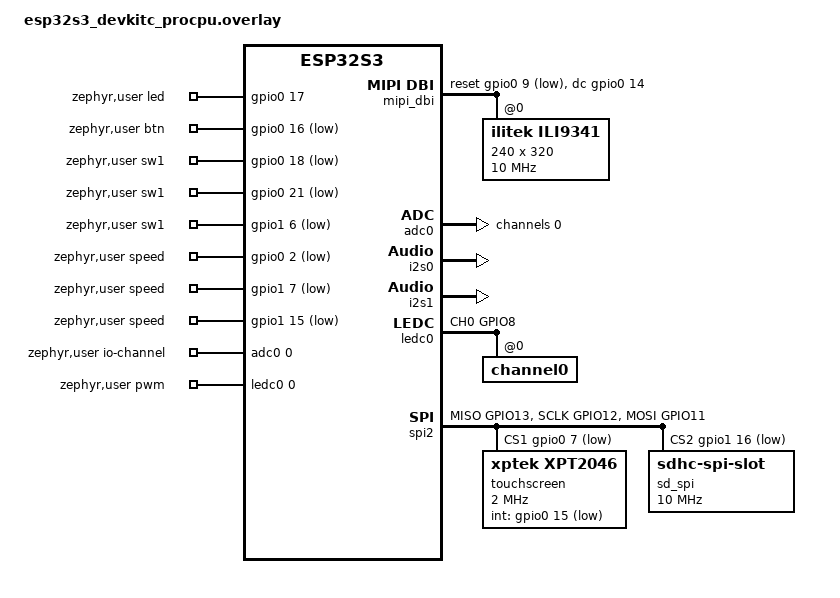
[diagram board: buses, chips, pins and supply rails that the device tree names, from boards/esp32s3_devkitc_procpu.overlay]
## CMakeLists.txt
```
# CMakeLists.txt — Zephyr bring-up test for the digital stethoscope hardware
cmake_minimum_required(VERSION 3.20.0)

find_package(Zephyr REQUIRED HINTS $ENV{ZEPHYR_BASE})
project(stetho_bringup)

target_include_directories(app PRIVATE include)

# Build identity printed at boot. run_ci.py passes -DSTETHO_BUILD_ID; a plain west build
# reports "local". The cache entry is dropped once read, so reconfiguring the directory
# without the option falls back to "local" instead of keeping an earlier CI identity.
set(STETHO_BUILD_ID_VALUE "local")
if(DEFINED STETHO_BUILD_ID)
  set(STETHO_BUILD_ID_VALUE "${STETHO_BUILD_ID}")
  unset(STETHO_BUILD_ID CACHE)
endif()
if(NOT STETHO_BUILD_ID_VALUE MATCHES "^[A-Za-z0-9 ._:+/-]+$")
  message(FATAL_ERROR "STETHO_BUILD_ID allows only letters, digits, spaces and ._:+/-")
endif()
file(CONFIGURE OUTPUT "${CMAKE_CURRENT_BINARY_DIR}/stetho_build_id.h"
     CONTENT "#define STETHO_BUILD_ID \"@STETHO_BUILD_ID_VALUE@\"\n" @ONLY)
target_include_directories(app PRIVATE "${CMAKE_CURRENT_BINARY_DIR}")

target_sources(app PRIVATE
    src/main.c
    src/app_logic.c
    src/peripherals.c
    src/gpio_inputs.c
    src/analog_backlight.c
    src/display_touch.c
    src/audio_loopback.c
    src/status_reporting.c
    src/stetho_dsp.c
    src/stetho_control.c
    src/stetho_shell.c
    src/stetho_fhir.c
    src/stetho_network.c
)

target_link_libraries(app PRIVATE m)
if(CONFIG_STETHO_NETWORK)
  set(STETHO_CA_HEADER "${CMAKE_CURRENT_BINARY_DIR}/stetho_ca.h")
  if(CONFIG_STETHO_CA_FILE)
    if(NOT EXISTS "${CONFIG_STETHO_CA_FILE}")
      message(FATAL_ERROR "STETHO_CA_FILE does not exist")
    endif()
    set_property(DIRECTORY APPEND PROPERTY CMAKE_CONFIGURE_DEPENDS "${CONFIG_STETHO_CA_FILE}")
    file(READ "${CONFIG_STETHO_CA_FILE}" CA_HEX HEX)
    string(REGEX REPLACE "(..)" "0x\\1," CA_BYTES "${CA_HEX}")
    file(WRITE "${STETHO_CA_HEADER}" "static const unsigned char stetho_ca[] = {${CA_BYTES}0};\n")
  else()
    file(WRITE "${STETHO_CA_HEADER}" "static const unsigned char stetho_ca[] = {0};\n")
  endif()
  target_include_directories(app PRIVATE "${CMAKE_CURRENT_BINARY_DIR}")
endif()
```

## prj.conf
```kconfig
# --- Subsystems ---
CONFIG_GPIO=y
CONFIG_ADC=y
CONFIG_I2S=y
CONFIG_DMA=y
CONFIG_SPI=y
CONFIG_MIPI_DBI=y
CONFIG_DISPLAY=y
CONFIG_INPUT=y
CONFIG_PWM=y

# --- Logging / console ---
# Deferred logging keeps console formatting off the audio and input paths.
CONFIG_LOG=y
CONFIG_LOG_MODE_DEFERRED=y
CONFIG_CONSOLE=y
CONFIG_SERIAL=y
CONFIG_UART_CONSOLE=y

# --- Runtime ---
CONFIG_MAIN_STACK_SIZE=8192
CONFIG_HEAP_MEM_POOL_SIZE=16384
CONFIG_THREAD_NAME=y

# Always-on stack safety and inspectability. qc.conf adds periodic reporting.
# ESP32-S3 Xtensa reports ARCH_HAS_STACK_PROTECTION=n in this Zephyr revision.
CONFIG_STACK_SENTINEL=y
CONFIG_THREAD_ANALYZER=y
CONFIG_THREAD_ANALYZER_USE_LOG=y
CONFIG_THREAD_STACK_INFO=y
CONFIG_INIT_STACKS=y

# --- XPT2046 resistive touch (verify symbol name for your Zephyr version) ---
CONFIG_INPUT_XPT2046=y
# Warnings here can saturate the 115200 console faster than it can drain.
CONFIG_INPUT_LOG_LEVEL_ERR=y

# N16R8: clips/fixtures in external RAM; DMA remains internal.
CONFIG_ESP_SPIRAM=y
CONFIG_SPIRAM_MODE_OCT=y
CONFIG_ESP_SPIRAM_MEMTEST=y
CONFIG_ESPTOOLPY_FLASHSIZE_16MB=y
CONFIG_FPU=y
# Preserve DSP registers when Wi-Fi/driver threads or interrupts preempt audio.
CONFIG_FPU_SHARING=y
CONFIG_PICOLIBC=y
CONFIG_SHELL=y
CONFIG_SHELL_STACK_SIZE=4096
CONFIG_SHELL_CMD_BUFF_SIZE=768
# Hold a complete fixture-upload command while the DSP runs.
CONFIG_SHELL_BACKEND_SERIAL_RX_RING_BUFFER_SIZE=1024
CONFIG_SHELL_ARGC_MAX=12
CONFIG_SHELL_HISTORY=n
CONFIG_LOG_BUFFER_SIZE=4096
CONFIG_LOG_PROCESS_THREAD_STACK_SIZE=2048
```

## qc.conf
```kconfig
# Build with: west build --pristine ... -- -DEXTRA_CONF_FILE=qc.conf
# Periodic high-water marks under the combined hardware workload.
# Hardware stack protection is unavailable on ESP32-S3 Xtensa
# (ARCH_HAS_STACK_PROTECTION=n); prj.conf enables STACK_SENTINEL instead.
CONFIG_THREAD_ANALYZER_AUTO=y
CONFIG_THREAD_ANALYZER_AUTO_INTERVAL=10
CONFIG_THREAD_ANALYZER_PRINT_THREAD_PRIORITY=y
CONFIG_THREAD_ANALYZER_ISR_STACK_USAGE=y
CONFIG_THREAD_ANALYZER_STACK_SAFETY=y
```

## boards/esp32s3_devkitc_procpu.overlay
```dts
/*
 * Board overlay for ESP32-S3-DevKitC-1 (N16R8) — hardware bring-up test.
 *
 * NOTE (N16R8 = octal PSRAM): GPIO33..37 are reserved for the octal PSRAM and
 * MUST NOT be used. GPIO43/44 are the UART console. GPIO19/20 are USB.
 * GPIO0/3/45/46 are strapping pins. None of those are used below.
 *
 * Existing signal wiring confirmed working by the user, 2026-09-16.
 * Evaluation carrier Rev A (SO.SchDoc) adds the speed switch (GPIO2/39/47) and
 * the LCD module SD card on the shared SPI2 bus (CS GPIO48); both are mapped here.
 */

#include <zephyr/dt-bindings/gpio/gpio.h>
#include <zephyr/dt-bindings/adc/adc.h>
#include <zephyr/dt-bindings/pwm/pwm.h>
#include <zephyr/dt-bindings/display/panel.h>

/ {
	aliases {
		i2s-mic = &i2s0;
		i2s-dac = &i2s1;
	};

	/*
	 * Ad-hoc peripherals live under /zephyr,user: that node needs no binding,
	 * yet still resolves gpio/pwm/adc specifier cells.
	 */
	zephyr,user {
		/* Potentiometer wiper on GPIO1 = ADC1 channel 0 */
		io-channels = <&adc0 0>;

		/* Display backlight (LEDC ch0) so the poti can dim it */
		pwms = <&ledc0 0 PWM_MSEC(1) PWM_POLARITY_NORMAL>;

		led-gpios = <&gpio0 17 GPIO_ACTIVE_HIGH>;                 /* LED inside the pushbutton */
		btn-gpios = <&gpio0 16 (GPIO_PULL_UP | GPIO_ACTIVE_LOW)>; /* pushbutton -> GND */

		/* SP3T switch: common -> GND, each throw -> one GPIO with pull-up */
		sw1-gpios = <&gpio0 18 (GPIO_PULL_UP | GPIO_ACTIVE_LOW)>,   /* Raw */
			    <&gpio0 21 (GPIO_PULL_UP | GPIO_ACTIVE_LOW)>,   /* Murmur */
			    <&gpio1 6  (GPIO_PULL_UP | GPIO_ACTIVE_LOW)>;   /* BPM   (GPIO38) */

		/* Speed SP3T (carrier J9): common -> GND. GPIO39 is then unavailable to JTAG. */
		speed-gpios = <&gpio0 2  (GPIO_PULL_UP | GPIO_ACTIVE_LOW)>,  /* 1.00x */
			      <&gpio1 7  (GPIO_PULL_UP | GPIO_ACTIVE_LOW)>,  /* 0.75x (GPIO39) */
			      <&gpio1 15 (GPIO_PULL_UP | GPIO_ACTIVE_LOW)>;  /* 0.50x (GPIO47) */
	};

	chosen {
		zephyr,display = &ili9341;
	};
};

/* ------------------------------------------------------------------ ADC */
&adc0 {
	status = "okay";
	#address-cells = <1>;
	#size-cells = <0>;

	channel@0 {
		reg = <0>;
		/* GAIN_1_4 = 12 dB attenuation on ESP32 -> full 0..3.3 V poti swing */
		zephyr,gain = "ADC_GAIN_1_4";
		zephyr,reference = "ADC_REF_INTERNAL";
		zephyr,acquisition-time = <ADC_ACQ_TIME_DEFAULT>;
		zephyr,resolution = <12>;
	};
};

/* ------------------------------------------------------------------ pinctrl */
&pinctrl {
	/* I2S0 = microphone input (INMP441). Verify macro names against
	 * dt-bindings/pinctrl/esp32s3-pinctrl.h. */
	i2s0_default: i2s0_default {
		group1 {
			pinmux = <I2S0_I_BCK_GPIO4>,   /* BCLK */
				 <I2S0_I_WS_GPIO5>;    /* LRCLK / WS */
			output-enable;
		};
		group2 {
			pinmux = <I2S0_I_SD_GPIO6>;    /* mic data (SD) */
			input-enable;
		};
	};

	/* I2S1 = DAC output (PCM5102A). ESP32 is clock master. */
	i2s1_default: i2s1_default {
		group1 {
			pinmux = <I2S1_O_BCK_GPIO40>,  /* BCK */
				 <I2S1_O_WS_GPIO41>,   /* LRCK */
				 <I2S1_O_SD_GPIO42>;   /* DIN */
			output-enable;
		};
	};

	spim2_default: spim2_default {
		group1 {
			pinmux = <SPIM2_MISO_GPIO13>,
				 <SPIM2_SCLK_GPIO12>;
			input-enable;
		};
		group2 {
			pinmux = <SPIM2_MOSI_GPIO11>;
			output-low;
		};
	};

	/* LEDC channel 0 -> backlight on GPIO8 */
	ledc0_default: ledc0_default {
		group1 {
			pinmux = <LEDC_CH0_GPIO8>;
			output-enable;
		};
	};
};

/* ------------------------------------------------------------------ DMA */
/* The ESP32 I2S driver hard-requires GDMA; CONFIG_DMA=y alone is not enough. */
&dma {
	status = "okay";
};

/* ------------------------------------------------------------------ I2S mic (INMP441) */
&i2s0 {
	status = "okay";
	pinctrl-0 = <&i2s0_default>;
	pinctrl-names = "default";
};

/* ------------------------------------------------------------------ I2S DAC (PCM5102A) */
&i2s1 {
	status = "okay";
	pinctrl-0 = <&i2s1_default>;
	pinctrl-names = "default";
};

/* ------------------------------------------------------------------ PWM backlight */
&ledc0 {
	status = "okay";
	#address-cells = <1>;
	#size-cells = <0>;
	pinctrl-0 = <&ledc0_default>;
	pinctrl-names = "default";

	channel0@0 {
		reg = <0>;
		timer = <0>;
	};
};

/* ------------------------------------------------------------------ SPI bus */
&spi2 {
	status = "okay";
	#address-cells = <1>;
	#size-cells = <0>;
	pinctrl-0 = <&spim2_default>;
	pinctrl-names = "default";
	/*
	 * CS: index 0 = display (GPIO10), index 1 = touch (GPIO7), index 2 = SD (GPIO48).
	 * Listing GPIO48 here makes the SPI driver hold it high from boot, so the card
	 * never answers display/touch traffic. GPIO48 also drives the DevKitC-1 v1.0
	 * RGB LED: keep any LED strip driver disabled.
	 */
	cs-gpios = <&gpio0 10 GPIO_ACTIVE_LOW>,
		   <&gpio0 7 GPIO_ACTIVE_LOW>,
		   <&gpio1 16 GPIO_ACTIVE_LOW>;

	/* Resistive touch (XPT2046) stays a plain SPI device. Label must not be
	 * 'touch' - that collides with the ESP32-S3 built-in touch sensor node. */
	touchscreen: xpt2046@1 {
		compatible = "xptek,xpt2046";
		status = "okay";
		reg = <1>;
		spi-max-frequency = <2000000>;
		/* Pull-up matters: a floating PENIRQ triggers a non-stop interrupt storm. */
		int-gpios = <&gpio0 15 (GPIO_ACTIVE_LOW | GPIO_PULL_UP)>;
		touchscreen-size-x = <240>;
		touchscreen-size-y = <320>;
		/* min/max raw values are panel-specific — calibrate. */
		min-x = <200>;
		min-y = <200>;
		max-x = <3900>;
		max-y = <3900>;
	};

	/* SD socket on the LCD module (carrier J11), SPI mode. The driver starts at
	 * 400 kHz and raises the clock after init; 10 MHz matches the display wiring. */
	sd_spi: sdhc@2 {
		compatible = "zephyr,sdhc-spi-slot";
		reg = <2>;
		status = "okay";
		spi-max-frequency = <10000000>;

		mmc {
			compatible = "zephyr,sdmmc-disk";
			disk-name = "SD";
			status = "okay";
		};
	};
};

/* ------------------------------------------------------------------ display */
/ {
	/*
	 * ILI9341 is an on-bus "mipi-dbi" device, so it cannot hang off &spi2
	 * directly - it needs this SPI-backed MIPI-DBI controller in between.
	 */
	mipi_dbi: mipi-dbi {
		compatible = "zephyr,mipi-dbi-spi";
		#address-cells = <1>;
		#size-cells = <0>;
		spi-dev = <&spi2>;
		dc-gpios = <&gpio0 14 GPIO_ACTIVE_HIGH>;        /* DC */
		reset-gpios = <&gpio0 9 GPIO_ACTIVE_LOW>;       /* RST */

		ili9341: ili9341@0 {
			compatible = "ilitek,ili9341";
			reg = <0>;                              /* -> cs-gpios index 0 */
			mipi-max-frequency = <10000000>;
			mipi-mode = "MIPI_DBI_MODE_SPI_4WIRE";
			width = <240>;
			height = <320>;
			rotation = <0>;
			pixel-format = <PANEL_PIXEL_FORMAT_RGB_565>;
		};
	};
};

/* Match the fitted N16R8; this changes memory geometry, not signal wiring. */
&flash0 { reg = <0x0 DT_SIZE_M(16)>; ranges = <0x0 0x0 DT_SIZE_M(16)>; };
&psram0 { status = "okay"; size = <DT_SIZE_M(8)>; };
```

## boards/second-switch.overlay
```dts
/* Optional second SP3T: common GND, throws GPIO2/39/47.
 * This is an extension, not part of the user-confirmed existing wiring.
 * GPIO39 is unavailable to an external JTAG probe when used here. */
/ {
 zephyr,user {
  speed-gpios = <&gpio0 2 (GPIO_PULL_UP | GPIO_ACTIVE_LOW)>,
                <&gpio1 7 (GPIO_PULL_UP | GPIO_ACTIVE_LOW)>,
                <&gpio1 15 (GPIO_PULL_UP | GPIO_ACTIVE_LOW)>;
 };
};
```

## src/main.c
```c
/* Main owns peripheral orchestration; audio, display and network have workers. */
#include "analog_backlight.h"
#include "app_logic.h"
#include "app_types.h"
#include "audio_loopback.h"
#include "display_touch.h"
#include "gpio_inputs.h"
#include "peripherals.h"
#include "status_reporting.h"
#include "stetho_control.h"
#include <errno.h>
#include <stdlib.h>
#include <zephyr/drivers/gpio.h>
#include <zephyr/kernel.h>
#include <zephyr/logging/log.h>
LOG_MODULE_REGISTER(bringup, LOG_LEVEL_INF);
#define INPUT_RESPONSE_REQUIREMENT_MS 35U
K_MSGQ_DEFINE(app_event_queue, sizeof(struct app_event), 16, 4);
struct app_context {
	struct peripheral_registry peripherals;
	struct runtime_state runtime;
	unsigned int adc_errors, pwm_errors, gpio_errors, latency_violations;
	uint32_t max_input_latency_ms;
};
static void disable_after_policy(struct app_context *c, enum component_id component,
                                 enum driver_operation operation, unsigned int failures, int error)
{
	if (app_driver_error_action(operation, failures) == DRIVER_ERROR_DISABLE_COMPONENT) {
		peripherals_disable(&c->peripherals, component, error);
		c->runtime.features = app_degraded_features(c->peripherals.components);
	}
}
static void sample_analog(struct app_context *c)
{
	struct stetho_settings settings;
	stetho_settings_get(&settings);
	if (peripherals_operational(&c->peripherals, COMP_POTENTIOMETER)) {
		int mv;
		int rc = analog_backlight_read_mv(&mv);
		if (rc)
			disable_after_policy(c, COMP_POTENTIOMETER, DRIVER_OP_ADC_SAMPLE,
			                     ++c->adc_errors, rc);
		else {
			c->adc_errors = 0;
			c->runtime.potentiometer_mv = mv;
			if (settings.pot && !settings.diagnostics) {
				unsigned int volume = (unsigned int)CLAMP(
				        mv * 100 / CONFIG_STETHO_POT_MAX_MV, 0, 100);
				/* Suppress ADC jitter; the audio worker ramps the accepted gain. */
				if (volume == 0 || volume == 100 ||
				    abs((int)volume - (int)settings.volume) >= 2)
					stetho_setting_set("volume", volume);
			}
		}
	}
	if (peripherals_operational(&c->peripherals, COMP_BACKLIGHT)) {
		int mv = settings.diagnostics && peripherals_operational(&c->peripherals,
		                                                         COMP_POTENTIOMETER)
		                 ? c->runtime.potentiometer_mv
		                 : (int)settings.brightness * APP_MAX_MILLIVOLTS / 100;
		int rc = analog_backlight_set_mv(mv);
		if (rc)
			disable_after_policy(c, COMP_BACKLIGHT, DRIVER_OP_BACKLIGHT_PWM,
			                     ++c->pwm_errors, rc);
		else
			c->pwm_errors = 0;
		c->runtime.brightness_percent = app_brightness_percent(mv);
	}
}
static void handle_event(struct app_context *c, const struct app_event *event)
{
	uint32_t latency = k_uptime_get_32() - event->timestamp_ms;
	c->max_input_latency_ms = MAX(c->max_input_latency_ms, latency);
	if (latency > INPUT_RESPONSE_REQUIREMENT_MS &&
	    app_should_log_failure(++c->latency_violations))
		LOG_WRN("Input handler latency %u ms", latency);
	struct stetho_settings settings;
	stetho_settings_get(&settings);
	switch (event->type) {
	case APP_EVENT_BUTTON:
		if (peripherals_operational(&c->peripherals, COMP_BUTTON_LED)) {
			bool previous = c->runtime.button_pressed;
			c->runtime.button_pressed = event->data.button_pressed;
			if (event->data.button_pressed && !previous) {
				if (settings.diagnostics)
					c->runtime.led_on = !c->runtime.led_on;
				else {
					struct audio_snapshot audio;
					audio_loopback_snapshot(&audio);
					stetho_action_request(audio.capturing || audio.replaying
					                              ? ACTION_LIVE
					                              : ACTION_CAPTURE);
					c->runtime.led_on = !(audio.capturing || audio.replaying);
				}
				int rc = gpio_inputs_set_led(c->runtime.led_on);
				if (rc)
					disable_after_policy(c, COMP_BUTTON_LED,
					                     DRIVER_OP_GPIO_OUTPUT,
					                     ++c->gpio_errors, rc);
				else
					c->gpio_errors = 0;
			}
		}
		break;
	case APP_EVENT_SWITCH:
		if (peripherals_operational(&c->peripherals, COMP_SWITCH)) {
			c->runtime.switch_position = event->data.switch_position;
			if (event->data.switch_position >= 1 && event->data.switch_position <= 3)
				stetho_setting_set("filter", event->data.switch_position - 1);
			peripherals_note_physical(&c->peripherals, COMP_SWITCH);
		}
		break;
	case APP_EVENT_SPEED:
		if (event->data.switch_position >= 1 && event->data.switch_position <= 3)
			stetho_setting_set("speed", event->data.switch_position == 1   ? 100
			                            : event->data.switch_position == 2 ? 75
			                                                               : 50);
		break;
	case APP_EVENT_TOUCH:
		if (peripherals_operational(&c->peripherals, COMP_TOUCH) &&
		    app_touch_transition(&c->runtime.touch, event->timestamp_ms,
		                         event->data.touch.x, event->data.touch.y,
		                         (uint8_t)display_touch_color_count())) {
			peripherals_note_physical(&c->peripherals, COMP_TOUCH);
			if (settings.diagnostics) {
				int rc = display_touch_show_color(c->runtime.touch.color_index);
				if (rc)
					LOG_WRN("Color request failed: %d", rc);
			} else
				stetho_control_touch(event->data.touch.x, event->data.touch.y);
		}
		break;
	default:
		break;
	}
}
static void start_available_features(struct app_context *c)
{
	gpio_inputs_get_initial(&c->runtime.button_pressed, &c->runtime.switch_position);
	if (c->runtime.switch_position >= 1 && c->runtime.switch_position <= 3)
		stetho_setting_set("filter", c->runtime.switch_position - 1);
	if (peripherals_operational(&c->peripherals, COMP_BUTTON_LED)) {
		int rc = gpio_inputs_start_button(GPIO_INT_EDGE_BOTH);
		if (rc)
			peripherals_disable(&c->peripherals, COMP_BUTTON_LED, rc);
	}
	if (peripherals_operational(&c->peripherals, COMP_SWITCH)) {
		int rc = gpio_inputs_start_switch(GPIO_INT_EDGE_BOTH);
		if (rc)
			peripherals_disable(&c->peripherals, COMP_SWITCH, rc);
	}
	int rc = gpio_inputs_start_speed();
	if (rc)
		LOG_WRN("Optional speed switch disabled: %d", rc);
	c->runtime.features = app_degraded_features(c->peripherals.components);
	/* DAC test sources remain usable even if the microphone probe fails. */
	if (peripherals_operational(&c->peripherals, COMP_DAC)) {
		rc = audio_loopback_start();
		if (rc)
			LOG_ERR("Audio start failed: %d", rc);
	}
}
int main(void)
{
	struct app_context c = {0};
	struct app_event event;
	LOG_INF("=== Stethoscope integrated evaluation ===");
	peripherals_probe_all(&c.peripherals);
	peripherals_report(&c.peripherals);
	start_available_features(&c);
	uint32_t next_analog = 0, next_status = 0;
	while (true) {
		int rc = k_msgq_get(&app_event_queue, &event, K_MSEC(5));
		if (!rc)
			handle_event(&c, &event);
		else if (rc != -EAGAIN)
			LOG_ERR("Event receive: %d", rc);
		uint32_t now = k_uptime_get_32();
		if ((int32_t)(now - next_analog) >= 0) {
			sample_analog(&c);
			next_analog = now + 100;
		}
		if ((int32_t)(now - next_status) >= 0) {
			status_reporting_log(&c.peripherals, &c.runtime);
			LOG_INF("input-latency-max=%ums requirement<=%ums", c.max_input_latency_ms,
			        INPUT_RESPONSE_REQUIREMENT_MS);
			struct stetho_settings settings;
			stetho_settings_get(&settings);
			if (!settings.diagnostics &&
			    peripherals_operational(&c.peripherals, COMP_BUTTON_LED)) {
				struct audio_snapshot audio;
				audio_loopback_snapshot(&audio);
				c.runtime.led_on = audio.capturing || audio.replaying;
				rc = gpio_inputs_set_led(c.runtime.led_on);
				if (rc)
					disable_after_policy(&c, COMP_BUTTON_LED,
					                     DRIVER_OP_GPIO_OUTPUT, ++c.gpio_errors,
					                     rc);
				else
					c.gpio_errors = 0;
			}
			next_status = now + 2000;
		}
	}
	return 0;
}
```

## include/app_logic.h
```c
#ifndef STETHO_APP_LOGIC_H
#define STETHO_APP_LOGIC_H

#include <stdbool.h>
#include <stddef.h>
#include <stdint.h>

#include "app_types.h"

#define APP_MAX_MILLIVOLTS 3300
#define APP_TOUCH_DEBOUNCE_MS 150U

struct app_probe_state {
	uint8_t attempts;
	bool done;
	bool success;
	int last_error;
};

enum app_feature {
	APP_FEATURE_BUTTON_LED = 1U << 0,
	APP_FEATURE_SWITCH = 1U << 1,
	APP_FEATURE_BACKLIGHT = 1U << 2,
	APP_FEATURE_DISPLAY = 1U << 3,
	APP_FEATURE_TOUCH = 1U << 4,
	APP_FEATURE_AUDIO_LOOPBACK = 1U << 5,
};

enum driver_operation {
	DRIVER_OP_ADC_SAMPLE,
	DRIVER_OP_BACKLIGHT_PWM,
	DRIVER_OP_DISPLAY_WRITE,
	DRIVER_OP_GPIO_OUTPUT,
	DRIVER_OP_I2S_TRANSFER,
	DRIVER_OP_I2S_CONTROL,
};

enum driver_error_action {
	DRIVER_ERROR_RETRY,
	DRIVER_ERROR_DEGRADE,
	DRIVER_ERROR_DISABLE_COMPONENT,
	DRIVER_ERROR_CONTROLLED_SHUTDOWN,
};

struct app_touch_state {
	bool initialized;
	uint32_t last_timestamp_ms;
	uint32_t count;
	int16_t x;
	int16_t y;
	uint8_t color_index;
};

struct app_status_snapshot {
	bool show_button;
	bool button_pressed;
	bool led_on;
	bool show_switch;
	int switch_position;
	bool show_potentiometer;
	int potentiometer_mv;
	bool show_backlight;
	unsigned int brightness_percent;
	bool show_display;
	const char *color_name;
	bool show_touch;
	uint32_t touch_count;
	int16_t touch_x;
	int16_t touch_y;
	bool show_audio;
	uint32_t audio_blocks;
	uint32_t audio_errors;
	int32_t audio_peak;
};

bool app_probe_record(struct app_probe_state *state, int result, uint8_t max_attempts);
uint32_t app_degraded_features(const struct component_status status[COMP_COUNT]);
int app_switch_decode(int position_1, int position_2, int position_3);
uint32_t app_brightness_pulse(uint32_t period, int millivolts);
unsigned int app_brightness_percent(int millivolts);
bool app_touch_transition(struct app_touch_state *state, uint32_t timestamp_ms, int16_t x,
                          int16_t y, uint8_t color_count);
enum driver_error_action app_driver_error_action(enum driver_operation operation,
                                                 unsigned int consecutive_errors);
bool app_should_log_failure(uint32_t failure_count);
size_t app_format_status(char *buffer, size_t capacity, const struct app_status_snapshot *status);

#endif
```

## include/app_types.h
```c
#ifndef STETHO_APP_TYPES_H
#define STETHO_APP_TYPES_H

#include <stdbool.h>
#include <stdint.h>

enum component_id {
	COMP_BUTTON_LED,
	COMP_SWITCH,
	COMP_POTENTIOMETER,
	COMP_BACKLIGHT,
	COMP_DISPLAY,
	COMP_TOUCH,
	COMP_MICROPHONE,
	COMP_DAC,
	COMP_SD_CARD,
	COMP_COUNT,
};

/* Evidence levels deliberately separate driver readiness from physical proof. */
enum presence_evidence {
	PRESENCE_NOT_READY,
	PRESENCE_CONTROLLER_READY,
	PRESENCE_TRANSFER_ACCEPTED,
	PRESENCE_PHYSICAL_VERIFIED,
};

struct component_status {
	bool operational;
	enum presence_evidence evidence;
	int error;
	uint8_t attempts;
};

enum app_event_type {
	APP_EVENT_BUTTON,
	APP_EVENT_SWITCH,
	APP_EVENT_TOUCH,
	APP_EVENT_SPEED,
};

struct app_event {
	enum app_event_type type;
	uint32_t timestamp_ms;
	union {
		bool button_pressed;
		int switch_position;
		struct {
			int16_t x;
			int16_t y;
		} touch;
	} data;
};

#endif
```

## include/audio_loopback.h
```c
#ifndef STETHO_AUDIO_LOOPBACK_H
#define STETHO_AUDIO_LOOPBACK_H

#include <stdbool.h>
#include <stdint.h>

struct audio_snapshot {
	bool running;
	uint32_t blocks;
	uint32_t errors;
	int32_t peak;
};

int audio_loopback_probe_microphone(void);
int audio_loopback_probe_dac(void);
int audio_loopback_start(void);
void audio_loopback_snapshot(struct audio_snapshot *snapshot);

#endif
```

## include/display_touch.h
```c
#ifndef STETHO_DISPLAY_TOUCH_H
#define STETHO_DISPLAY_TOUCH_H

#include <stddef.h>
#include <stdint.h>

int display_touch_probe_display(void);
int display_touch_probe_touch(void);
int display_touch_show_color(uint8_t color_index);
size_t display_touch_color_count(void);
const char *display_touch_color_name(uint8_t color_index);

#endif
```

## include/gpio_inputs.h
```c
#ifndef STETHO_GPIO_INPUTS_H
#define STETHO_GPIO_INPUTS_H

#include <stdbool.h>
#include <zephyr/drivers/gpio.h>

int gpio_inputs_probe_button_led(void);
int gpio_inputs_probe_switch(void);
void gpio_inputs_get_initial(bool *button_pressed, int *switch_position);
int gpio_inputs_start_button(gpio_flags_t interrupt_mode);
int gpio_inputs_start_switch(gpio_flags_t interrupt_mode);
int gpio_inputs_start_speed(void);
int gpio_inputs_set_led(bool enabled);

#endif
```

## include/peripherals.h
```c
#ifndef STETHO_PERIPHERALS_H
#define STETHO_PERIPHERALS_H

#include <stdbool.h>
#include <stddef.h>

#include "app_types.h"

#define PERIPHERAL_MAX_ATTEMPTS 4U

struct peripheral_registry {
	struct component_status components[COMP_COUNT];
};

size_t peripherals_probe_all(struct peripheral_registry *registry);
void peripherals_report(const struct peripheral_registry *registry);
bool peripherals_operational(const struct peripheral_registry *registry,
                             enum component_id component);
void peripherals_disable(struct peripheral_registry *registry, enum component_id component,
                         int error);
void peripherals_note_physical(struct peripheral_registry *registry, enum component_id component);
const char *peripherals_component_name(enum component_id component);
const char *peripherals_evidence_name(enum presence_evidence evidence);

#endif
```

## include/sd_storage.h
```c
#ifndef STETHO_SD_STORAGE_H
#define STETHO_SD_STORAGE_H

/* FatFs resolves the volume by disk name, so this must stay "/<disk-name>:". */
#define SD_STORAGE_MOUNT_POINT "/SD:"

int sd_storage_probe(void);

#endif
```

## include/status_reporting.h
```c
#ifndef STETHO_STATUS_REPORTING_H
#define STETHO_STATUS_REPORTING_H

#include <stdbool.h>
#include <stdint.h>

#include "app_logic.h"
#include "peripherals.h"

/* Written only by main; callbacks and the audio thread publish messages/snapshots. */
struct runtime_state {
	uint32_t features;
	bool button_pressed;
	bool led_on;
	int switch_position;
	int potentiometer_mv;
	unsigned int brightness_percent;
	struct app_touch_state touch;
};

void status_reporting_log(const struct peripheral_registry *registry,
                          const struct runtime_state *runtime);

#endif
```

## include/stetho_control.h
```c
#ifndef STETHO_CONTROL_H
#define STETHO_CONTROL_H
#include "stetho_dsp.h"
enum stetho_source { SOURCE_MIC, SOURCE_TONE, SOURCE_HEART, SOURCE_FIXTURE };
enum stetho_action { ACTION_NONE, ACTION_CAPTURE, ACTION_REPLAY, ACTION_LIVE, ACTION_RESTART };
struct stetho_settings {
	enum stetho_filter filter, analysis;
	enum stetho_source source;
	unsigned int speed, volume, brightness, test_bpm, point;
	bool heart, diagnostics, pot;
	uint32_t action_id;
	enum stetho_action action;
};
void stetho_settings_get(struct stetho_settings *settings);
int stetho_setting_set(const char *name, unsigned int value);
void stetho_action_request(enum stetho_action action);
void stetho_control_touch(int x, int y);
#endif
```

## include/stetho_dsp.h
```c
#ifndef STETHO_DSP_H
#define STETHO_DSP_H
#include <stdbool.h>
#include <stddef.h>
#include <stdint.h>
#define STETHO_RATE 16000
#define STETHO_ENVELOPE_RATE 100
#define STETHO_ENVELOPE_COUNT 800
#define STETHO_HOP 160
#define STETHO_WINDOW (2 * STETHO_HOP)
enum stetho_filter { FILTER_RAW, FILTER_MURMUR, FILTER_BPM, FILTER_COUNT };
struct stetho_biquad {
	float b0, b1, b2, a1, a2, z1, z2;
};
struct stetho_dsp {
	struct stetho_biquad filters[2][2];
	float weights[FILTER_COUNT], gain;
	float envelope[STETHO_ENVELOPE_COUNT], envelope_sum;
	unsigned int envelope_samples, envelope_head, envelope_used, since_estimate;
	float bpm, quality;
	bool bpm_valid;
	uint64_t samples;
};
struct stetho_levels {
	float input_rms, output_rms, input_peak, output_peak;
	uint32_t input_clips, output_clips;
};
struct stetho_replay {
	const int16_t *clip;
	size_t length, emitted, target_length;
	unsigned int speed_percent, next_offset;
	size_t previous_start;
	float tail[STETHO_HOP], next[STETHO_HOP];
	bool first;
};
void stetho_dsp_init(struct stetho_dsp *dsp);
void stetho_dsp_reset_bpm(struct stetho_dsp *dsp);
void stetho_dsp_process(struct stetho_dsp *dsp, const float *input, float *audible, float *filtered,
                        size_t count, enum stetho_filter listening, enum stetho_filter analysis,
                        float gain, bool heart, struct stetho_levels *levels);
void stetho_replay_init(struct stetho_replay *replay, const int16_t *clip, size_t length,
                        unsigned int speed_percent);
size_t stetho_replay_read(struct stetho_replay *replay, float *output, size_t count);
float stetho_test_signal(uint64_t sample, unsigned int bpm, bool tone);
#endif
```

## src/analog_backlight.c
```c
#include "analog_backlight.h"

#include <errno.h>

#include <zephyr/drivers/adc.h>
#include <zephyr/drivers/pwm.h>
#include <zephyr/logging/log.h>

#include "app_logic.h"

LOG_MODULE_REGISTER(analog_backlight, LOG_LEVEL_INF);

#define ZUSER DT_PATH(zephyr_user)

static const struct adc_dt_spec potentiometer = ADC_DT_SPEC_GET(ZUSER);
static const struct pwm_dt_spec backlight = PWM_DT_SPEC_GET(ZUSER);

int analog_backlight_read_mv(int *millivolts)
{
	int16_t sample = 0;
	int32_t converted;
	int rc;
	struct adc_sequence sequence = {
	        .buffer = &sample,
	        .buffer_size = sizeof(sample),
	};

	if (millivolts == NULL) {
		return -EINVAL;
	}
	rc = adc_sequence_init_dt(&potentiometer, &sequence);
	if (rc != 0) {
		LOG_ERR("ADC sequence init failed: %d", rc);
		return rc;
	}
	rc = adc_read_dt(&potentiometer, &sequence);
	if (rc != 0) {
		LOG_ERR("potentiometer ADC read failed: %d", rc);
		return rc;
	}
	converted = sample;
	rc = adc_raw_to_millivolts_dt(&potentiometer, &converted);
	if (rc != 0) {
		LOG_ERR("potentiometer raw-to-mV conversion failed (raw=%d): %d", sample, rc);
		return rc;
	}
	*millivolts = (int)converted;
	return 0;
}

int analog_backlight_probe_potentiometer(void)
{
	int sample_mv;
	int rc;

	if (!adc_is_ready_dt(&potentiometer)) {
		return -ENODEV;
	}
	rc = adc_channel_setup_dt(&potentiometer);
	if (rc != 0) {
		LOG_ERR("potentiometer ADC channel setup failed: %d", rc);
		return rc;
	}
	return analog_backlight_read_mv(&sample_mv);
}

int analog_backlight_set_mv(int millivolts)
{
	uint32_t pulse = app_brightness_pulse(backlight.period, millivolts);
	int rc = pwm_set_pulse_dt(&backlight, pulse);

	if (rc != 0) {
		LOG_ERR("backlight PWM write failed (mv=%d pulse=%u period=%u): %d", millivolts,
		        pulse, backlight.period, rc);
	}
	return rc;
}

int analog_backlight_probe_pwm(void)
{
	if (!pwm_is_ready_dt(&backlight)) {
		return -ENODEV;
	}
	return analog_backlight_set_mv(APP_MAX_MILLIVOLTS);
}
```

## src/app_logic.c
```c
#include "app_logic.h"

#include <errno.h>
#include <stdarg.h>
#include <stdio.h>
#include <string.h>

bool app_probe_record(struct app_probe_state *state, int result, uint8_t max_attempts)
{
	if (state == NULL || state->done || max_attempts == 0U) {
		return false;
	}

	state->attempts++;
	state->last_error = result;
	state->success = result == 0;
	state->done = state->success || state->attempts >= max_attempts;
	return !state->done;
}

uint32_t app_degraded_features(const struct component_status status[COMP_COUNT])
{
	uint32_t features = 0U;

	if (status[COMP_BUTTON_LED].operational) {
		features |= APP_FEATURE_BUTTON_LED;
	}
	if (status[COMP_SWITCH].operational) {
		features |= APP_FEATURE_SWITCH;
	}
	if (status[COMP_BACKLIGHT].operational) {
		features |= APP_FEATURE_BACKLIGHT;
	}
	if (status[COMP_DISPLAY].operational) {
		features |= APP_FEATURE_DISPLAY;
	}
	if (status[COMP_TOUCH].operational) {
		features |= APP_FEATURE_TOUCH;
	}
	if (status[COMP_MICROPHONE].operational && status[COMP_DAC].operational) {
		features |= APP_FEATURE_AUDIO_LOOPBACK;
	}
	return features;
}

int app_switch_decode(int position_1, int position_2, int position_3)
{
	const int active[] = {position_1 > 0, position_2 > 0, position_3 > 0};
	int selected = 0;
	int count = 0;

	if (position_1 < 0 || position_2 < 0 || position_3 < 0) {
		return -EIO;
	}
	for (size_t i = 0; i < sizeof(active) / sizeof(active[0]); i++) {
		if (active[i] != 0) {
			selected = (int)i + 1;
			count++;
		}
	}
	return count > 1 ? -EINVAL : selected;
}

uint32_t app_brightness_pulse(uint32_t period, int millivolts)
{
	if (millivolts <= 0) {
		return 0U;
	}
	if (millivolts >= APP_MAX_MILLIVOLTS) {
		return period;
	}
	return (uint32_t)(((uint64_t)period * (uint32_t)millivolts) / APP_MAX_MILLIVOLTS);
}

unsigned int app_brightness_percent(int millivolts)
{
	if (millivolts <= 0) {
		return 0U;
	}
	if (millivolts >= APP_MAX_MILLIVOLTS) {
		return 100U;
	}
	return (unsigned int)(((uint32_t)millivolts * 100U) / APP_MAX_MILLIVOLTS);
}

bool app_touch_transition(struct app_touch_state *state, uint32_t timestamp_ms, int16_t x,
                          int16_t y, uint8_t color_count)
{
	if (state == NULL || color_count == 0U) {
		return false;
	}
	if (state->initialized &&
	    (uint32_t)(timestamp_ms - state->last_timestamp_ms) < APP_TOUCH_DEBOUNCE_MS) {
		return false;
	}

	state->initialized = true;
	state->last_timestamp_ms = timestamp_ms;
	state->count++;
	state->x = x;
	state->y = y;
	state->color_index = (uint8_t)((state->color_index + 1U) % color_count);
	return true;
}

enum driver_error_action app_driver_error_action(enum driver_operation operation,
                                                 unsigned int consecutive_errors)
{
	if (consecutive_errors == 0U) {
		return DRIVER_ERROR_RETRY;
	}

	switch (operation) {
	case DRIVER_OP_ADC_SAMPLE:
	case DRIVER_OP_BACKLIGHT_PWM:
	case DRIVER_OP_GPIO_OUTPUT:
		return consecutive_errors < 3U ? DRIVER_ERROR_RETRY
		                               : DRIVER_ERROR_DISABLE_COMPONENT;
	case DRIVER_OP_DISPLAY_WRITE:
		return consecutive_errors < 2U ? DRIVER_ERROR_RETRY
		                               : DRIVER_ERROR_DISABLE_COMPONENT;
	case DRIVER_OP_I2S_TRANSFER:
	case DRIVER_OP_I2S_CONTROL:
		return consecutive_errors < 3U ? DRIVER_ERROR_DEGRADE
		                               : DRIVER_ERROR_DISABLE_COMPONENT;
	default:
		return DRIVER_ERROR_CONTROLLED_SHUTDOWN;
	}
}

bool app_should_log_failure(uint32_t failure_count)
{
	return failure_count != 0U && (failure_count & (failure_count - 1U)) == 0U;
}

static void append_text(char *buffer, size_t capacity, size_t *used, const char *format, ...)
{
	va_list args;
	int result;

	if (capacity == 0U || *used >= capacity) {
		return;
	}
	va_start(args, format);
	result = vsnprintf(buffer + *used, capacity - *used, format, args);
	va_end(args);
	if (result < 0) {
		buffer[*used] = '\0';
		return;
	}
	if ((size_t)result >= capacity - *used) {
		*used = capacity - 1U;
		buffer[*used] = '\0';
		return;
	}
	*used += (size_t)result;
}

size_t app_format_status(char *buffer, size_t capacity, const struct app_status_snapshot *status)
{
	size_t used = 0U;

	if (buffer == NULL || capacity == 0U || status == NULL) {
		return 0U;
	}
	buffer[0] = '\0';
	if (status->show_button) {
		append_text(buffer, capacity, &used, "btn=%d led=%d | ", status->button_pressed,
		            status->led_on);
	}
	if (status->show_switch) {
		append_text(buffer, capacity, &used, "sw=%d | ", status->switch_position);
	}
	if (status->show_potentiometer) {
		append_text(buffer, capacity, &used, "poti=%dmV | ", status->potentiometer_mv);
	}
	if (status->show_backlight) {
		append_text(buffer, capacity, &used, "backlight=%u%% | ",
		            status->brightness_percent);
	}
	if (status->show_display) {
		append_text(buffer, capacity, &used, "colour=%s | ",
		            status->color_name != NULL ? status->color_name : "unknown");
	}
	if (status->show_touch) {
		append_text(buffer, capacity, &used, "touch=%u@%d,%d | ", status->touch_count,
		            status->touch_x, status->touch_y);
	}
	if (status->show_audio) {
		append_text(buffer, capacity, &used, "audio blocks=%u errs=%u peak=%d | ",
		            status->audio_blocks, status->audio_errors, status->audio_peak);
	}
	return used;
}
```
